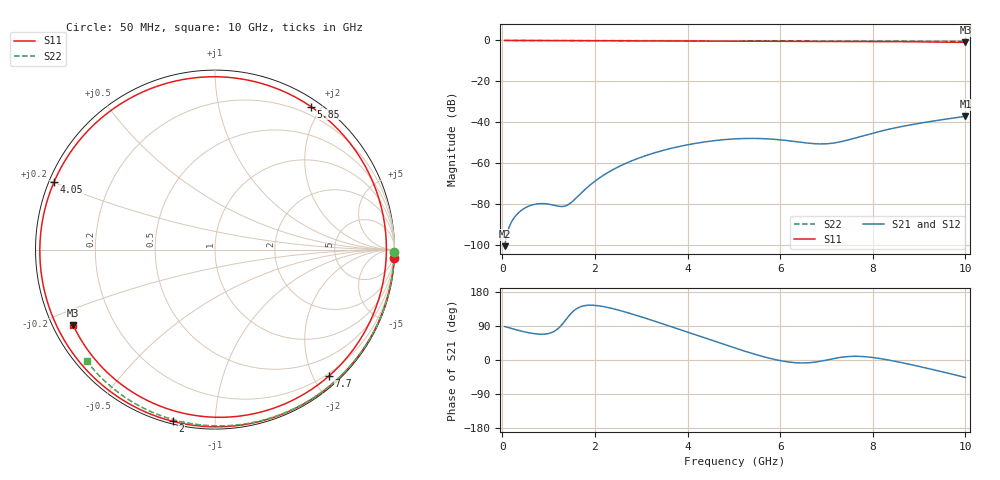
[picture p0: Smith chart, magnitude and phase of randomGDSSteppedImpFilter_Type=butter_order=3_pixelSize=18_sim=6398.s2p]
! freq	dB(S11)	phase(S11)	dB(S12)	phase(S12)
!  dB(S21)	phase(S21)	dB(S22)	phase(S22)
!S-par simulation data
#  GHz  S  DB  R 50
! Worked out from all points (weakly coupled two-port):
!   200 points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, 50 MHz to 10 GHz, reference 50 ohm
!   highest |S21| = -37.06 dB at 10 GHz (marker M1); lowest = -100.5 dB at 50 MHz (marker M2)
!   lowest |S11| = -1.0 dB at 10 GHz (marker M3), VSWR 18.12, Z = 2.93 - j12.5 ohm
!   |S11| at or under -10 dB: nowhere
!   |S22| runs from -0.5 to 0.0 dB; largest |S21 - S12| = 0
!   S11 on the Smith chart (normalised r, x): 50 MHz: 0, -42; 2 GHz: 0.01, -0.78; 4.05 GHz: 0.01, +0.20; 5.85 GHz: 0.09, +1.87; 7.7 GHz: 0.16, -2.23; 10 GHz: 0.06, -0.25
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0.05  -0.00 -2.7  -100.48 88.4  -100.48 88.4  -0.00 -0.8
0.65  -0.04 -35.1  -80.31 70.2  -80.31 70.2  -0.01 -10.4
1.05  -0.07 -56.1  -80.15 71.8  -80.15 71.8  -0.02 -16.7
1.45  -0.09 -76.6  -79.82 118.2  -79.82 118.2  -0.03 -23.0
1.75  -0.11 -91.6  -73.53 142.7  -73.53 142.7  -0.04 -27.7
2  -0.13 -103.8  -68.75 144.2  -68.75 144.2  -0.04 -31.6
2.75  -0.17 -139.6  -59.21 123.3  -59.21 123.3  -0.06 -43.0
3.4  -0.20 -170.6  -54.15 98.1  -54.15 98.1  -0.07 -52.7
4.05  -0.24 157.3  -50.75 71.6  -50.75 71.6  -0.09 -62.1
4.5  -0.27 133.8  -49.16 53.0  -49.16 53.0  -0.10 -68.5
5.05  -0.31 103.3  -48.04 30.6  -48.04 30.6  -0.12 -76.2
5.45  -0.34 80.0  -47.85 15.3  -47.85 15.3  -0.13 -81.6
5.85  -0.36 56.1  -48.24 2.3  -48.24 2.3  -0.15 -87.0
6.3  -0.38 29.1  -49.30 -6.9  -49.30 -6.9  -0.17 -92.9
6.7  -0.40 5.6  -50.35 -6.4  -50.35 -6.4  -0.19 -98.1
7.15  -0.42 -19.5  -50.12 3.6  -50.12 3.6  -0.22 -103.9
7.7  -0.46 -48.1  -47.14 9.6  -47.14 9.6  -0.25 -110.8
8.35  -0.55 -78.8  -43.35 -0.2  -43.35 -0.2  -0.30 -118.8
8.75  -0.62 -96.4  -41.49 -10.2  -41.49 -10.2  -0.34 -123.7
9.15  -0.71 -113.7  -39.92 -21.1  -39.92 -21.1  -0.38 -128.6
9.55  -0.81 -131.1  -38.52 -32.6  -38.52 -32.6  -0.42 -133.4
10  -0.96 -151.9  -37.06 -46.2  -37.06 -46.2  -0.47 -138.8
